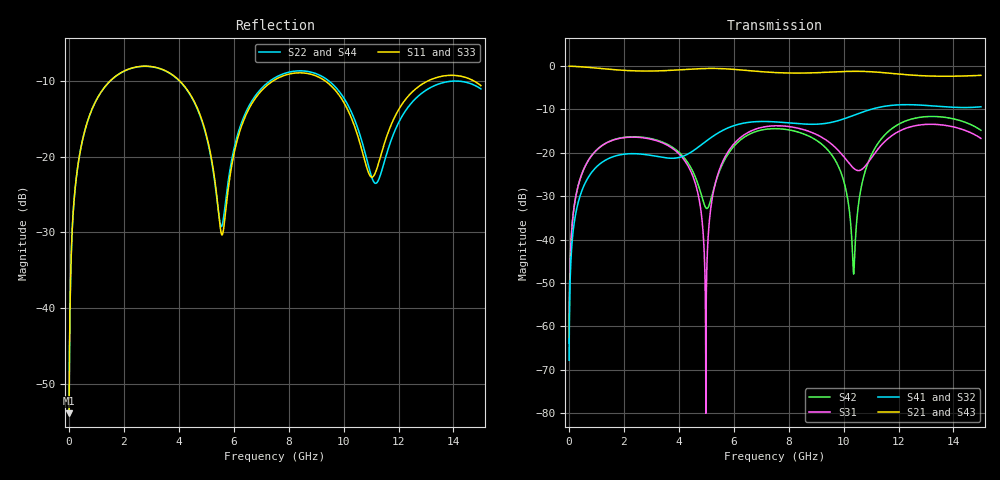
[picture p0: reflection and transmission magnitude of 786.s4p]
! Created with skrf 1.8.0 (http://scikit-rf.org).
# GHz S RI R 50.0
!freq ReS11 ImS11 ReS12 ImS12 ReS13 ImS13
! ReS14 ImS14
! ReS21 ImS21 ReS22 ImS22 ReS23 ImS23
! ReS24 ImS24
! ReS31 ImS31 ReS32 ImS32 ReS33 ImS33
! ReS34 ImS34
! ReS41 ImS41 ReS42 ImS42 ReS43 ImS43
! ReS44 ImS44
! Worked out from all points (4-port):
!   2499 points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, 5 MHz to 15 GHz, reference 50 ohm
!   strongest paths, dB at 5 MHz, 3.476 GHz, 7.19 GHz, 11.1 GHz, 15 GHz:
!     S21: 0.0, -1.0, -1.4, -1.3, -2.1
!     S43: 0.0, -1.1, -1.4, -1.3, -2.1
!     S41: -67.8, -21.1, -12.8, -9.8, -9.4
!     S32: -67.8, -21.2, -12.8, -9.8, -9.4
!     S31: -63.9, -17.9, -13.9, -20.4, -16.7
!     S42: -63.9, -17.7, -14.5, -19.4, -14.8
!   lowest |S11| = -53.9 dB at 5 MHz (marker M1), VSWR 1.00, Z = 50.2 + j0.123 ohm
!   |S11| at or under -10 dB: start of sweep to 1.506 GHz; 4.028 GHz to 7.438 GHz (3.41 GHz wide, 59.5 % of centre); 9.324 GHz to 13.08 GHz (3.754 GHz wide, 33.5 % of centre) (the widest 3 of 4)
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0.005  0.00161 0.00123  0.9984 -0.00314  8.08e-05 0.000634  -7.85e-05 -0.000398
       0.9984 -0.00314  0.00161 0.00123  -7.85e-05 -0.000398  8.08e-05 0.000634
       8.08e-05 0.000634  -7.85e-05 -0.000398  0.00161 0.00123  0.9984 -0.00314
       -7.85e-05 -0.000398  8.08e-05 0.000634  0.9984 -0.00314  0.00161 0.00123
1.519383  0.2599 0.1831  0.573 -0.7158  0.1207 0.0648  -0.0876 -0.0101
          0.573 -0.7158  0.2592 0.1835  -0.0875 -0.0102  0.123 0.0618
          0.1207 0.0648  -0.0875 -0.0102  0.2601 0.183  0.5729 -0.7159
          -0.0876 -0.0101  0.123 0.0618  0.5729 -0.7159  0.2592 0.1836
4.239266  0.2144 -0.1895  -0.6078 -0.6837  0.0506 -0.0608  -0.0492 0.0798
          -0.6078 -0.6837  0.2157 -0.1853  -0.0497 0.0791  0.038 -0.0753
          0.0506 -0.0608  -0.0497 0.0791  0.2149 -0.1906  -0.6076 -0.6835
          -0.0492 0.0798  0.038 -0.0753  -0.6076 -0.6835  0.2168 -0.1855
4.983326  0.0701 -0.125  -0.8605 -0.3749  3.25e-06 9.92e-05  -0.0496 0.1261
          -0.8605 -0.3749  0.0728 -0.1201  -0.0507 0.1257  -0.0211 -0.00971
          3.25e-06 9.92e-05  -0.0507 0.1257  0.0701 -0.1266  -0.8602 -0.375
          -0.0496 0.1261  -0.0211 -0.00971  -0.8602 -0.375  0.074 -0.1212
6.546478  0.1441 0.1466  -0.7743 0.4322  0.1396 0.103  0.1441 0.1726
          -0.7743 0.4322  0.1532 0.1501  0.1425 0.1737  0.1138 0.116
          0.1396 0.103  0.1425 0.1737  0.143 0.1459  -0.7744 0.4325
          0.1441 0.1726  0.1138 0.116  -0.7744 0.4325  0.153 0.1482
10.36682  0.1194 -0.1132  0.7145 0.4977  -0.0546 -0.0379  0.146 -0.228
          0.7145 0.4977  0.1222 -0.1346  0.1498 -0.2255  -0.00394 -0.000693
          -0.0546 -0.0379  0.1498 -0.2255  0.1195 -0.1143  0.7155 0.496
          0.146 -0.228  -0.00394 -0.000693  0.7155 0.496  0.1223 -0.1358
15  0.2577 -0.1416  -0.2359 -0.7463  0.0813 -0.1224  -0.3006 0.1587
    -0.2359 -0.7463  0.2598 -0.1038  -0.3035 0.1503  0.0947 -0.1556
    0.0813 -0.1224  -0.3035 0.1503  0.2579 -0.1455  -0.2415 -0.7439
    -0.3006 0.1587  0.0947 -0.1556  -0.2415 -0.7439  0.2589 -0.1042
